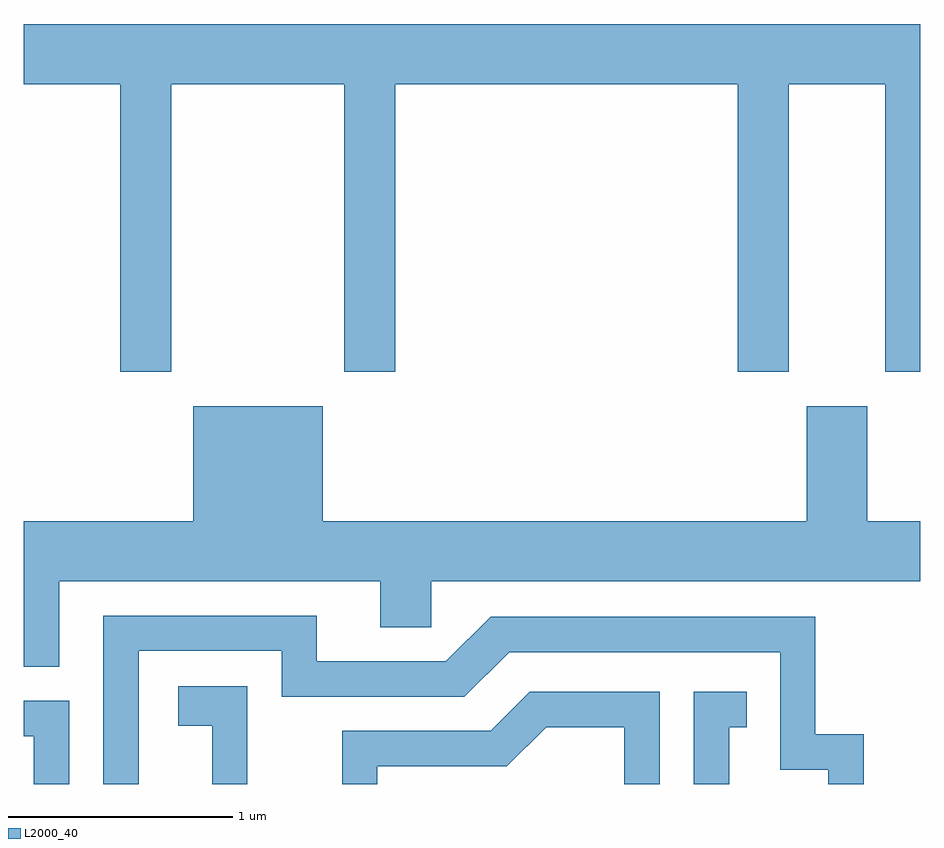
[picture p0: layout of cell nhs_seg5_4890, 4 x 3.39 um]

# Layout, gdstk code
import gdstk
lib = gdstk.Library(unit=1e-6, precision=1e-09)
def P(c, l, *ps):  # polygons
    for p in ps: c.add(gdstk.Polygon(p, *l))
L2000_40 = (2000, 40)

nhs_seg5_4890 = lib.new_cell('nhs_seg5_4890')
P(nhs_seg5_4890, L2000_40, [(330.269,1501.196),(331.041,1501.196),(331.041,1499.911),(331.269,1499.911),(331.269,1501.196),(332.796,1501.196),(332.796,1499.911),(333.024,1499.911),(333.024,1501.196),(333.456,1501.196),(333.456,1499.911),(333.611,1499.911),(333.611,1501.464),(329.611,1501.464),(329.611,1501.196),(330.041,1501.196),(330.041,1499.911),(330.269,1499.911)],
  [(329.769,1498.976),(331.201,1498.976),(331.201,1498.771),(331.429,1498.771),(331.429,1498.976),(333.611,1498.976),(333.611,1499.244),(333.374,1499.244),(333.374,1499.759),(333.106,1499.759),(333.106,1499.244),(330.944,1499.244),(330.944,1499.759),(330.366,1499.759),(330.366,1499.244),(329.611,1499.244),(329.611,1498.596),(329.769,1498.596)],
  [(330.124,1498.666),(330.761,1498.666),(330.761,1498.461),(331.577,1498.461),(331.777,1498.661),(332.986,1498.661),(332.986,1498.136),(333.201,1498.136),(333.201,1498.072),(333.359,1498.072),(333.359,1498.294),(333.144,1498.294),(333.144,1498.819),(331.694,1498.819),(331.494,1498.619),(330.919,1498.619),(330.919,1498.824),(329.966,1498.824),(329.966,1498.072),(330.124,1498.072)],
  [(330.609,1498.509),(330.301,1498.509),(330.301,1498.331),(330.451,1498.331),(330.451,1498.072),(330.609,1498.072)],
  [(331.189,1498.151),(331.767,1498.151),(331.942,1498.326),(332.291,1498.326),(332.291,1498.072),(332.449,1498.072),(332.449,1498.484),(331.869,1498.484),(331.694,1498.309),(331.031,1498.309),(331.031,1498.072),(331.189,1498.072)],
  [(332.759,1498.326),(332.838,1498.326),(332.838,1498.484),(332.601,1498.484),(332.601,1498.072),(332.759,1498.072)],
  [(329.814,1498.444),(329.611,1498.444),(329.611,1498.286),(329.656,1498.286),(329.656,1498.072),(329.814,1498.072)])

lib.write_gds('nhs_seg5_4890.gds')
